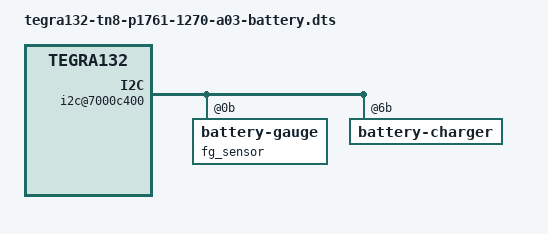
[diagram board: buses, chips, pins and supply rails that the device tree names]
#include "tegra132-tn8-p1761-1270-a03.dts"

/ {
	nvidia,dtsfilename = __FILE__;

	i2c@7000c400 {
		fg_sensor: battery-gauge@0b {
			status = "okay";
			onsemi,kernel-threshold-soc = < 2 >;
		};

		battery-charger@6b {
			charger {
				status = "okay";
			};
		};
	};

	sysedp_batmon_calc {
		status = "okay";
	};

	thermal-zones {
		Battery {
			thermal-sensors = <&fg_sensor>;
			status = "okay";
                };
	};
};

